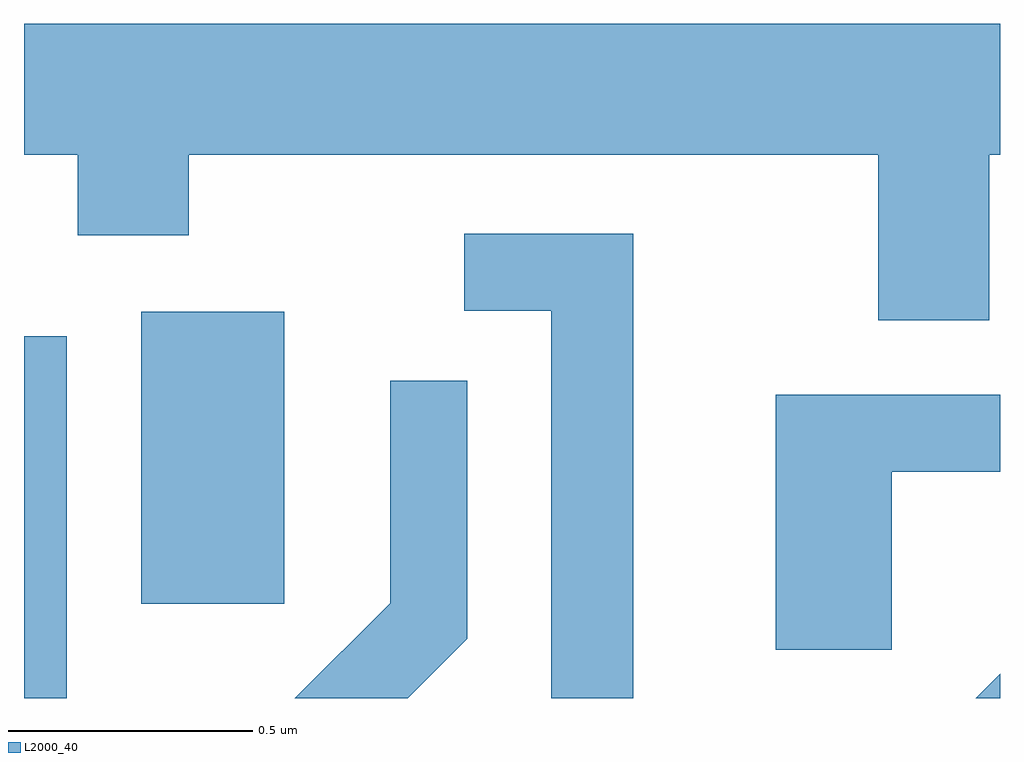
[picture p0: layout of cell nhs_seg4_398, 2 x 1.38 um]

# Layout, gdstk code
import gdstk
lib = gdstk.Library(unit=1e-6, precision=1e-09)
def R(c, l, rs):  # rectangles x0, y0, x1, y1
    for r in rs: c.add(gdstk.rectangle(r[:2], r[2:], *l))
def P(c, l, *ps):  # polygons
    for p in ps: c.add(gdstk.Polygon(p, *l))
L2000_40 = (2000, 40)

nhs_seg4_398 = lib.new_cell('nhs_seg4_398')
R(nhs_seg4_398, L2000_40, [(187.611,1377.982,187.699,1378.724), (187.851,1378.176,188.144,1378.774)])
P(nhs_seg4_398, L2000_40, [(189.589,1379.096),(189.611,1379.096),(189.611,1379.364),(187.611,1379.364),(187.611,1379.096),(187.721,1379.096),(187.721,1378.931),(187.949,1378.931),(187.949,1379.096),(189.361,1379.096),(189.361,1378.756),(189.589,1378.756)],
  [(188.859,1378.934),(188.513,1378.934),(188.513,1378.776),(188.691,1378.776),(188.691,1377.982),(188.859,1377.982)],
  [(188.519,1378.104),(188.519,1378.633),(188.361,1378.633),(188.361,1378.177),(188.166,1377.982),(188.397,1377.982)],
  [(189.389,1378.446),(189.611,1378.446),(189.611,1378.604),(189.151,1378.604),(189.151,1378.081),(189.389,1378.081)],
  [(189.611,1378.032),(189.561,1377.982),(189.611,1377.982)])

lib.write_gds('nhs_seg4_398.gds')
